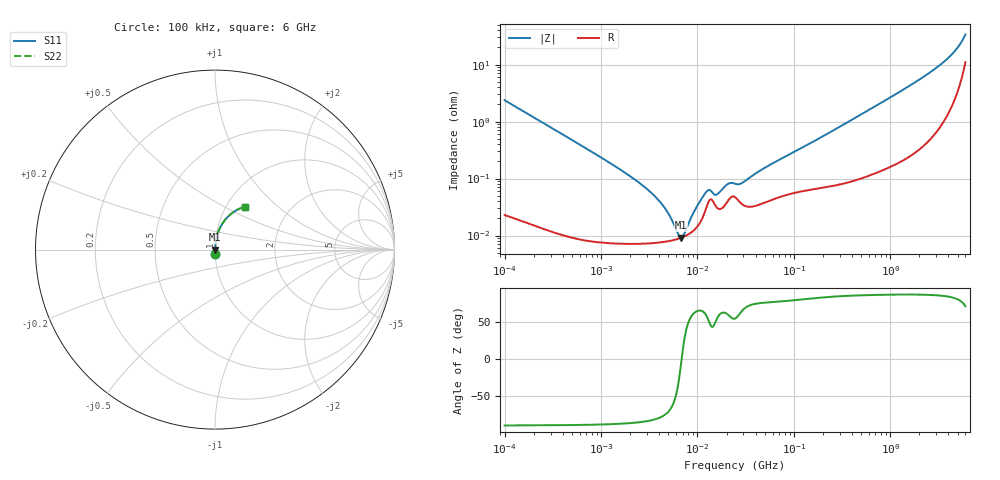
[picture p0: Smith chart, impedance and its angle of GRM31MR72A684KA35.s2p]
!Murata Part Number: GRM31MR72A684KA35
!These Parameters are Measured in Series Mode Connection
!Data Generated on Mar 30, 2021
!  o--ll--o
!Port1  Port2
!  o------o
!Operation Temp=25[degC], DC Bias Voltage=0[V]
!Freq. Start=100[kHz] Stop=6[GHz] 401[Steps]
# Hz S RI R 50
!Freq.(Hz) S11(Real) S11(Imag) S21(Real) S21(Imag) S12(Real) S12(Imag) S22(Real) S22(Imag)
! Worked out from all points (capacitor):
!   401 points, 100 kHz to 6 GHz, reference 50 ohm
!   read as one part in series: C = 670 nF near 105.7 kHz
!   lowest |Z| = 9.19 mohm at 6.724 MHz (marker M1)
!   series resonance near 6.848 MHz, so ESL is about 810 pH
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100000  0.00079 -0.0237  0.9992 0.0237  0.9992 0.0237  0.00079 -0.0237
631452  9.81e-05 -0.00376  0.9999 0.00376  0.9999 0.00376  9.81e-05 -0.00376
2118054  7.23e-05 -0.00103  0.9999 0.00103  0.9999 0.00103  7.23e-05 -0.00103
3028495  7.29e-05 -0.000641  0.9999 0.000641  0.9999 0.000641  7.29e-05 -0.000641
3987316  7.54e-05 -0.000403  0.9999 0.000403  0.9999 0.000403  7.54e-05 -0.000403
4833907  7.88e-05 -0.000254  0.9999 0.000254  0.9999 0.000254  7.88e-05 -0.000254
6191655  8.68e-05 -7.31e-05  0.9999 7.31e-05  0.9999 7.31e-05  8.68e-05 -7.31e-05
6724235  9.09e-05 -1.33e-05  0.9999 1.33e-05  0.9999 1.33e-05  9.09e-05 -1.33e-05
7302625  9.62e-05 4.74e-05  0.9999 -4.74e-05  0.9999 -4.74e-05  9.62e-05 4.74e-05
9353785  0.000127 0.000244  0.9999 -0.000244  0.9999 -0.000244  0.000127 0.000244
1.231519e7  0.000302 0.000496  0.9997 -0.000496  0.9997 -0.000496  0.000302 0.000496
1.337449e7  0.000422 0.000467  0.9996 -0.000467  0.9996 -0.000467  0.000422 0.000467
1.577428e7  0.000313 0.000417  0.9997 -0.000417  0.9997 -0.000417  0.000313 0.000417
2.076842e7  0.00041 0.000695  0.9996 -0.000695  0.9996 -0.000695  0.00041 0.000695
2.517799e7  0.000454 0.000655  0.9995 -0.000655  0.9995 -0.000655  0.000454 0.000655
2.889002e7  0.000357 0.000753  0.9996 -0.000753  0.9996 -0.000753  0.000357 0.000753
5.147553e7  0.000389 0.00155  0.9996 -0.00155  0.9996 -0.00155  0.000389 0.00155
1.546735e8  0.000661 0.00429  0.9993 -0.00429  0.9993 -0.00429  0.000661 0.00429
9.76689e8  0.00224 0.0259  0.9978 -0.0259  0.9978 -0.0259  0.00224 0.0259
3.276068e9  0.0173 0.096  0.9827 -0.096  0.9827 -0.096  0.0173 0.096
4.814911e9  0.0574 0.1674  0.9426 -0.1674  0.9426 -0.1674  0.0574 0.1674
6e9  0.1684 0.2398  0.8316 -0.2398  0.8316 -0.2398  0.1684 0.2398
